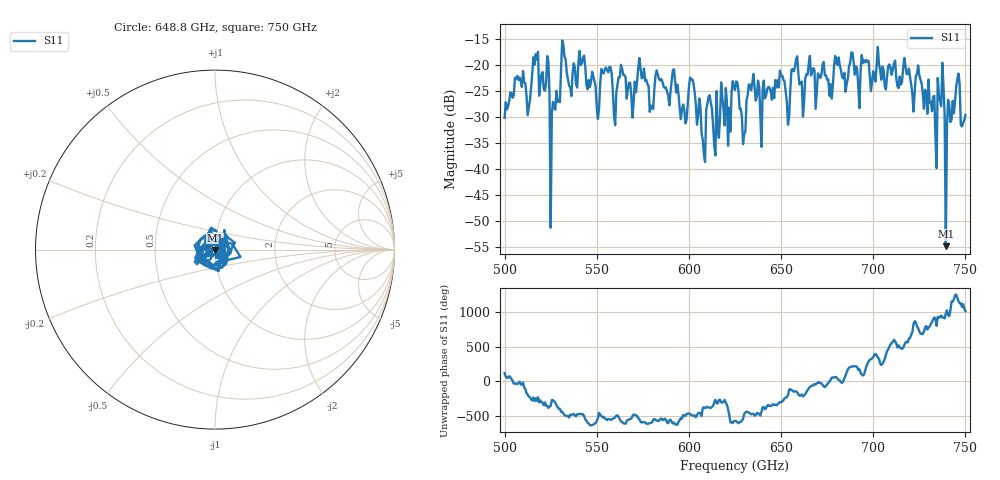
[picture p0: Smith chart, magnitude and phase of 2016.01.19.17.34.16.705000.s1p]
!Created with skrf (http://scikit-rf.org).
# GHz S RI R 50.0
!freq ReS11 ImS11
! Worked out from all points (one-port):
!   401 points, 500 GHz to 750 GHz, reference 50 ohm
!   lowest |S11| = -54.9 dB at 739.4 GHz (marker M1), VSWR 1.00, Z = 50 - j0.179 ohm
!   |S11| at or under -10 dB: start of sweep to end of sweep
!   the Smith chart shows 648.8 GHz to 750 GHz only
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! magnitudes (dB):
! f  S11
! 500 GHz  -30.2
! 506.9 GHz  -22.2
! 513.1 GHz  -28.2
! 516.9 GHz  -18.0
! 523.1 GHz  -18.4
! 526.2 GHz  -27.2
! 531.2 GHz  -15.4
! 541.9 GHz  -19.7
! 550.6 GHz  -30.5
! 562.5 GHz  -22.4
! 593.8 GHz  -23.9
! 597.5 GHz  -28.7
! 601.9 GHz  -22.8
! 608.1 GHz  -37.2
! 610.6 GHz  -26.2
! 615 GHz  -25.1
! 625 GHz  -24.9
! 629.4 GHz  -35.3
! 633.8 GHz  -24.9
! 653.8 GHz  -31.6
! 656.2 GHz  -20.9
! 687.5 GHz  -19.6
! 718.8 GHz  -21.8
! 733.1 GHz  -26.0
! 736.9 GHz  -28.0
! 739.4 GHz  -54.9
! 745.6 GHz  -22.9
! 750 GHz  -29.7
